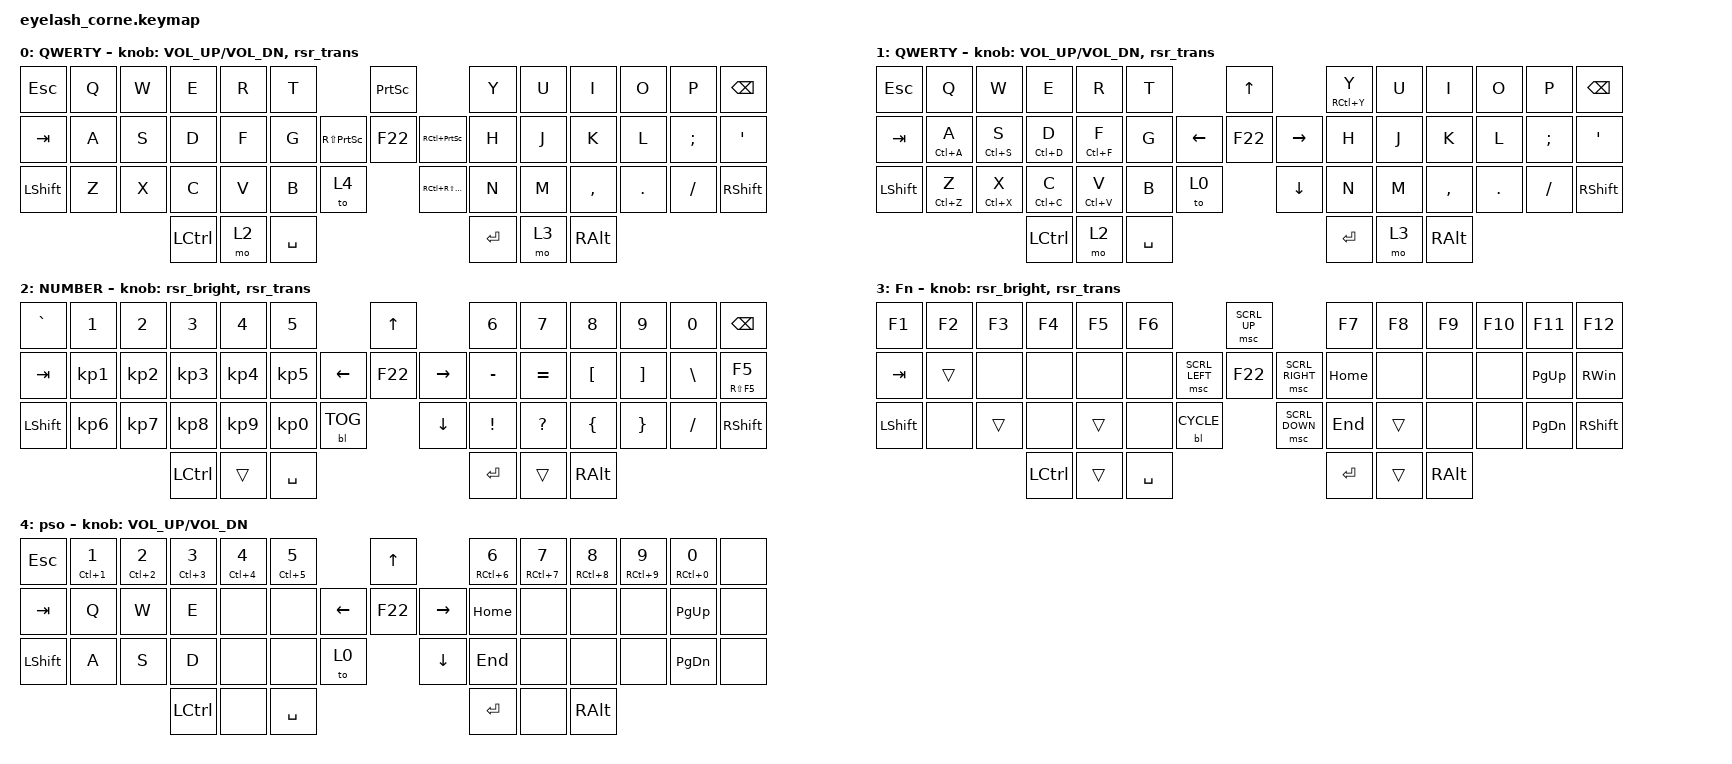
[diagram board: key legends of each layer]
#define ZMK_POINTING_DEFAULT_MOVE_VAL 1200  // 600
#define ZMK_POINTING_DEFAULT_SCRL_VAL 25   // 10

#include <input/processors.dtsi>
#include <zephyr/dt-bindings/input/input-event-codes.h>
#include <behaviors/runtime-sensor-rotate.dtsi>
#include <behaviors.dtsi>
#include <dt-bindings/zmk/backlight.h>
#include <dt-bindings/zmk/keys.h>
#include <dt-bindings/zmk/pointing.h>

&soft_off { hold-time-ms = <2000>; };

/ {
    behaviors {
        td0: td0 {
            compatible = "zmk,behavior-tap-dance";
            display-name = "Shift/Caps Lock Tap Dance";
            #binding-cells = <0>;
            bindings = <&kp LEFT_SHIFT>, <&kp CAPS>;
        };

        rsr_vol: rsr_vol {
            compatible = "zmk,behavior-runtime-sensor-rotate";
            #sensor-binding-cells = <0>;
            tap-ms = <5>;
            cw-binding = <&kp C_VOL_UP>;
            ccw-binding = <&kp C_VOL_DN>;
        };

        rsr_trans: rsr_trans {
            compatible = "zmk,behavior-runtime-sensor-rotate";
            #sensor-binding-cells = <0>;
            tap-ms = <0>;
        };

        rsr_bright: rsr_bright {
            compatible = "zmk,behavior-sensor-rotate";
            label = "RSR_BRIGHT";
            #sensor-binding-cells = <0>;
            bindings = <&bl BL_INC>, <&bl BL_DEC>;
        };
    };

    combos { compatible = "zmk,combos"; };

    keymap {
        compatible = "zmk,keymap";

        default {
            display-name = "QWERTY";
            bindings = <
&kp ESCAPE      &kp Q  &kp W  &kp E      &kp R  &kp T                                    &kp PRINTSCREEN                               &kp Y      &kp U  &kp I      &kp O    &kp P          &kp BSPC
&kp TAB         &kp A  &kp S  &kp D      &kp F  &kp G               &kp RS(PRINTSCREEN)  &kp F22                  &kp RC(PRINTSCREEN)  &kp H      &kp J  &kp K      &kp L    &kp SEMICOLON  &kp SQT
&kp LEFT_SHIFT  &kp Z  &kp X  &kp C      &kp V  &kp B      &to 4                         &kp RC(RS(PRINTSCREEN))                       &kp N      &kp M  &kp COMMA  &kp DOT  &kp FSLH       &kp RIGHT_SHIFT
                              &kp LCTRL  &mo 2  &kp SPACE                                                                              &kp ENTER  &mo 3  &kp RALT
            >;

            sensor-bindings = <&inc_dec_kp C_VOLUME_UP C_VOL_DN>, <&rsr_trans>;
        };

        mod {
            display-name = "QWERTY";
            bindings = <
&kp ESCAPE      &kp Q        &kp W        &kp E        &kp R        &kp T                         &kp UP               &mt RC(Y) Y  &kp U  &kp I      &kp O    &kp P          &kp BSPC
&kp TAB         &mt LC(A) A  &mt LC(S) S  &mt LC(D) D  &mt LC(F) F  &kp G               &kp LEFT  &kp F22   &kp RIGHT  &kp H        &kp J  &kp K      &kp L    &kp SEMICOLON  &kp SQT
&kp LEFT_SHIFT  &mt LC(Z) Z  &mt LC(X) X  &mt LC(C) C  &mt LC(V) V  &kp B      &to 0              &kp DOWN             &kp N        &kp M  &kp COMMA  &kp DOT  &kp FSLH       &kp RIGHT_SHIFT
                                          &kp LCTRL    &mo 2        &kp SPACE                                          &kp ENTER    &mo 3  &kp RALT
            >;

            sensor-bindings = <&inc_dec_kp C_VOLUME_UP C_VOL_DN>, <&rsr_trans>;
        };

        num {
            display-name = "NUMBER";
            bindings = <
&kp GRAVE       &kp NUMBER_1     &kp NUMBER_2     &kp NUMBER_3     &kp N4           &kp N5                                   &kp UP_ARROW                   &kp NUMBER_6  &kp N7        &kp N8            &kp N9             &kp N0         &kp BSPC
&kp TAB         &kp KP_NUMBER_1  &kp KP_NUMBER_2  &kp KP_NUMBER_3  &kp KP_NUMBER_4  &kp KP_NUMBER_5                &kp LEFT  &kp F22       &kp RIGHT_ARROW  &kp MINUS     &kp EQUAL     &kp LEFT_BRACKET  &kp RIGHT_BRACKET  &kp BACKSLASH  &mt RS(F5) F5
&kp LEFT_SHIFT  &kp KP_NUMBER_6  &kp KP_NUMBER_7  &kp KP_NUMBER_8  &kp KP_NUMBER_9  &kp KP_NUMBER_0  &bl BL_TOG              &kp DOWN                       &kp EXCL      &kp QUESTION  &kp LEFT_BRACE    &kp RIGHT_BRACE    &kp SLASH      &kp RIGHT_SHIFT
                                                  &kp LCTRL        &trans           &kp SPACE                                                               &kp ENTER     &trans        &kp RIGHT_ALT
            >;

            sensor-bindings = <&rsr_bright>, <&rsr_trans>;
        };

        fn {
            display-name = "Fn";
            bindings = <
&kp F1          &kp F2  &kp F3  &kp F4     &kp F5  &kp F6                                     &msc SCRL_UP                     &kp F7     &kp F8  &kp F9         &kp F10  &kp F11        &kp F12
&kp TAB         &trans  &none   &none      &none   &none                      &msc SCRL_LEFT  &kp F22         &msc SCRL_RIGHT  &kp HOME   &none   &none          &none    &kp PAGE_UP    &kp RIGHT_WIN
&kp LEFT_SHIFT  &none   &trans  &none      &trans  &none      &bl BL_CYCLE                    &msc SCRL_DOWN                   &kp END    &trans  &none          &none    &kp PAGE_DOWN  &kp RIGHT_SHIFT
                                &kp LCTRL  &trans  &kp SPACE                                                                   &kp ENTER  &trans  &kp RIGHT_ALT
            >;

            sensor-bindings = <&rsr_bright>, <&rsr_trans>;
        };

        pso {
            bindings = <
&kp ESCAPE      &mt LC(NUMBER_1) NUMBER_1  &mt LC(NUMBER_2) NUMBER_2  &mt LC(NUMBER_3) NUMBER_3  &mt LC(NUMBER_4) NUMBER_4  &mt LC(N5) N5                     &kp UP_ARROW             &mt RC(NUMBER_6) NUMBER_6  &mt RC(N7) N7  &mt RC(N8) N8  &mt RC(N9) N9  &mt RC(N0) N0  &none
&kp TAB         &kp Q                      &kp W                      &kp E                      &none                      &none                   &kp LEFT  &kp F22       &kp RIGHT  &kp HOME                   &none          &none          &none          &kp PAGE_UP    &none
&kp LEFT_SHIFT  &kp A                      &kp S                      &kp D                      &none                      &none          &to 0              &kp DOWN                 &kp END                    &none          &none          &none          &kp PAGE_DOWN  &none
                                                                      &kp LCTRL                  &none                      &kp SPACE                                                  &kp ENTER                  &none          &kp RIGHT_ALT
            >;

            sensor-bindings = <&inc_dec_kp C_VOLUME_UP C_VOL_DN>;
        };
    };
};
